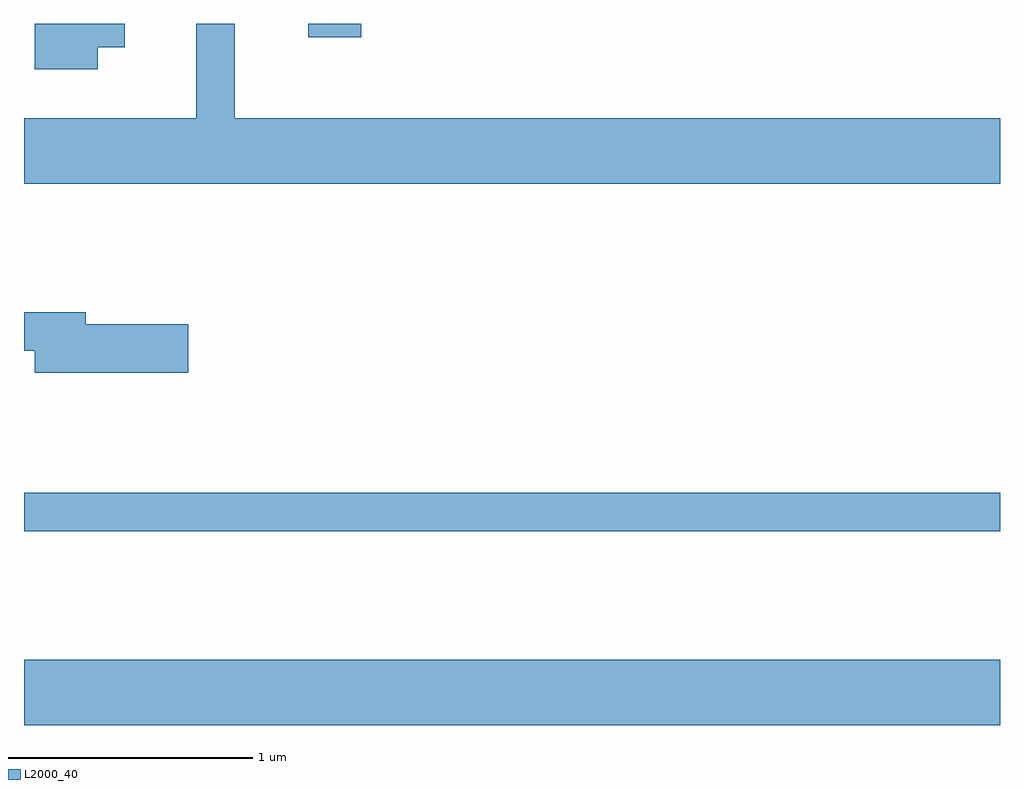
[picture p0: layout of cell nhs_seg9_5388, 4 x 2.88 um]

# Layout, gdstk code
import gdstk
lib = gdstk.Library(unit=1e-6, precision=1e-09)
def R(c, l, rs):  # rectangles x0, y0, x1, y1
    for r in rs: c.add(gdstk.rectangle(r[:2], r[2:], *l))
def P(c, l, *ps):  # polygons
    for p in ps: c.add(gdstk.Polygon(p, *l))
L2000_40 = (2000, 40)

nhs_seg9_5388 = lib.new_cell('nhs_seg9_5388')
R(nhs_seg9_5388, L2000_40, [(343.611,2029.556,347.611,2029.824), (343.611,2030.351,347.611,2030.509), (344.776,2032.376,344.994,2032.432)])
P(nhs_seg9_5388, L2000_40, [(347.611,2032.044),(344.474,2032.044),(344.474,2032.432),(344.316,2032.432),(344.316,2032.044),(343.611,2032.044),(343.611,2031.776),(347.611,2031.776)],
  [(343.914,2032.336),(344.024,2032.336),(344.024,2032.432),(343.656,2032.432),(343.656,2032.246),(343.914,2032.246)],
  [(344.284,2031.199),(343.864,2031.199),(343.864,2031.249),(343.611,2031.249),(343.611,2031.091),(343.656,2031.091),(343.656,2031.001),(344.284,2031.001)])

lib.write_gds('nhs_seg9_5388.gds')
